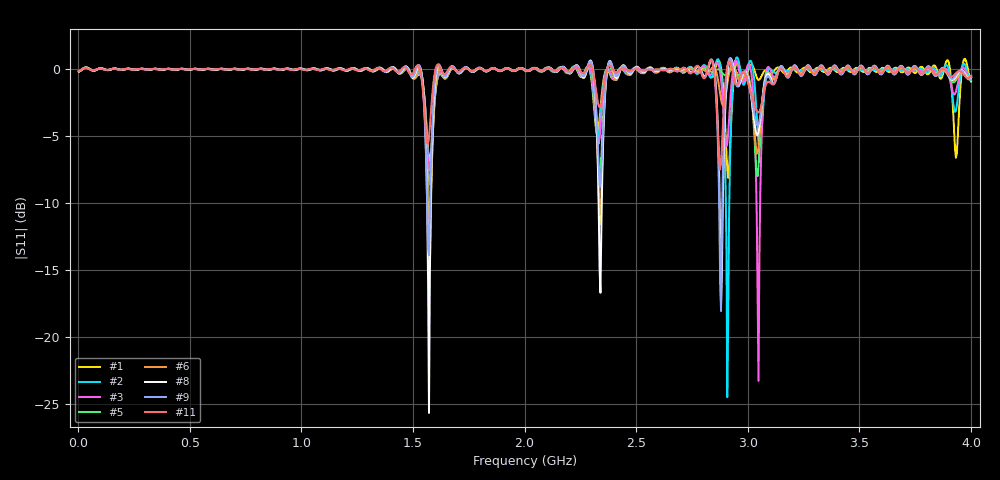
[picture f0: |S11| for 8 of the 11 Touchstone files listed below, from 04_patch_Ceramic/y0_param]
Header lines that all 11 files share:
! TOUCHSTONE file generated by CST MICROWAVE STUDIO
! Project name: AppElm_antenne_patch_Alumina.cst
! Header version: 2018
! Port assignment regex: !\s*Touchstone port\s*([0-9]+)\s*=\s*(CST MWS port|CST DS port)\s*([0-9]+|Zmin|Zmax)\s*\(\"(.*)\"\)(\s*mode\s*([0-9]+))?.*
! Touchstone port assignment:
! Touchstone port 1 = CST MWS port 1 ("")
# GHz S MA R 50
Fixed: L = 30.5, W = 41.8, e = 0.035, h = 1.6, lambda = 0.190476, ls = 90, w0 = 1.12, w1 = 0.373, ws = 90, y1 = 10
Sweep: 4 MHz to 4 GHz
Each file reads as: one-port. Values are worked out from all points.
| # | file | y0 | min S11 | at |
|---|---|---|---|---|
| 1 | AppElm_antenne_patch_Alumina_1.s1p | 10.5 | -8.1 dB | 2.912 GHz |
| 2 | AppElm_antenne_patch_Alumina_2.s1p | 11.2 | -24.5 dB | 2.908 GHz |
| 3 | AppElm_antenne_patch_Alumina_3.s1p | 11.9 | -23.3 dB | 3.048 GHz |
| 4 | AppElm_antenne_patch_Alumina_4.s1p | 12.6 | -12.5 dB | 3.044 GHz |
| 5 | AppElm_antenne_patch_Alumina_5.s1p | 13.3 | -11.8 dB | 1.576 GHz |
| 6 | AppElm_antenne_patch_Alumina_6.s1p | 14 | -15.0 dB | 1.572 GHz |
| 7 | AppElm_antenne_patch_Alumina_7.s1p | 14.7 | -22.4 dB | 1.572 GHz |
| 8 | AppElm_antenne_patch_Alumina_8.s1p | 15.4 | -25.7 dB | 1.572 GHz |
| 9 | AppElm_antenne_patch_Alumina_9.s1p | 16.1 | -18.1 dB | 2.88 GHz |
| 10 | AppElm_antenne_patch_Alumina_10.s1p | 16.8 | -10.7 dB | 2.876 GHz |
| 11 | AppElm_antenne_patch_Alumina_11.s1p | 17.5 | -7.5 dB | 2.876 GHz |
